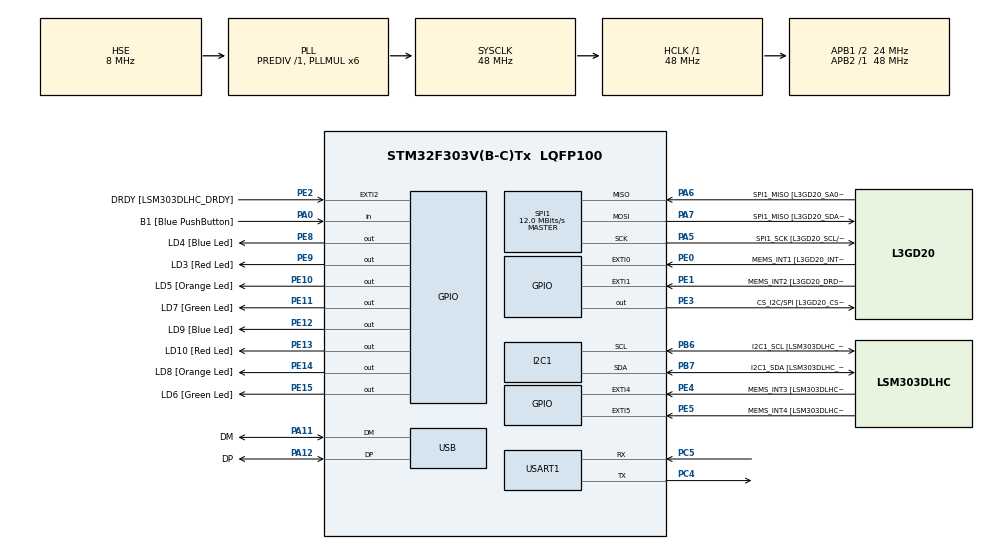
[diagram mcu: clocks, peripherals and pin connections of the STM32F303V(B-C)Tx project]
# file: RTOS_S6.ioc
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FREERTOS.Tasks01=defaultTask,0,128,StartDefaultTask,Default,NULL,Dynamic,NULL,NULL
FREERTOS.configUSE_NEWLIB_REENTRANT=1
I2C1.Timing-I2C=0x2000090E
Mcu.Family=STM32F3
Mcu.Name=STM32F303V(B-C)Tx
Mcu.Package=LQFP100
NVIC.PriorityGroup=NVIC_PRIORITYGROUP_4
NVIC.TIM1_UP_TIM16_IRQn=true\:15\:0\:false\:false\:true\:false\:false\:true\:true
NVIC.TimeBase=TIM1_UP_TIM16_IRQn
NVIC.TimeBaseIP=TIM1
NVIC.USART1_IRQn=true\:5\:0\:false\:false\:true\:true\:true\:true\:true
PA0.GPIO_Label=B1 [Blue PushButton]
PA0.Signal=GPIO_Input
PA11.GPIO_Label=DM
PA11.Mode=Device
PA11.Signal=USB_DM
PA12.GPIO_Label=DP
PA12.Mode=Device
PA12.Signal=USB_DP
PA13.GPIO_Label=SWDIO
PA13.Mode=Serial_Wire
PA13.Signal=SYS_JTMS-SWDIO
PA14.GPIO_Label=SWCLK
PA14.Mode=Serial_Wire
PA14.Signal=SYS_JTCK-SWCLK
PA5.GPIO_Label=SPI1_SCK [L3GD20_SCL/SPC]
PA5.Mode=Full_Duplex_Master
PA5.Signal=SPI1_SCK
PA6.GPIO_Label=SPI1_MISO [L3GD20_SA0/SDO]
PA6.Mode=Full_Duplex_Master
PA6.Signal=SPI1_MISO
PA7.GPIO_Label=SPI1_MISO [L3GD20_SDA/SDI/SDO]
PA7.Mode=Full_Duplex_Master
PA7.Signal=SPI1_MOSI
PB3.GPIO_Label=SWO
PB3.Signal=SYS_JTDO-TRACESWO
PB6.GPIO_Label=I2C1_SCL [LSM303DLHC_SCL]
PB6.GPIO_Pu=GPIO_PULLUP
PB6.Mode=I2C
PB6.Signal=I2C1_SCL
PB7.GPIO_Label=I2C1_SDA [LSM303DLHC_SDA]
PB7.GPIO_Pu=GPIO_PULLUP
PB7.Mode=I2C
PB7.Signal=I2C1_SDA
PC14-OSC32_IN.GPIO_Label=OSC32_IN
PC14-OSC32_IN.Signal=RCC_OSC32_IN
PC15-OSC32_OUT.GPIO_Label=OSC32_OUT
PC15-OSC32_OUT.Signal=RCC_OSC32_OUT
PC4.Mode=Asynchronous
PC4.Signal=USART1_TX
PC5.Mode=Asynchronous
PC5.Signal=USART1_RX
PE0.GPIO_Label=MEMS_INT1 [L3GD20_INT1]
PE0.GPIO_ModeDefaultEXTI=GPIO_MODE_EVT_RISING
PE0.Signal=GPXTI0
PE1.GPIO_Label=MEMS_INT2 [L3GD20_DRDY/INT2]
PE1.GPIO_ModeDefaultEXTI=GPIO_MODE_EVT_RISING
PE1.Signal=GPXTI1
PE10.GPIO_Label=LD5 [Orange Led]
PE10.Signal=GPIO_Output
PE11.GPIO_Label=LD7 [Green Led]
PE11.Signal=GPIO_Output
PE12.GPIO_Label=LD9 [Blue Led]
PE12.Signal=GPIO_Output
PE13.GPIO_Label=LD10 [Red Led]
PE13.Signal=GPIO_Output
PE14.GPIO_Label=LD8 [Orange Led]
PE14.Signal=GPIO_Output
PE15.GPIO_Label=LD6 [Green Led]
PE15.Signal=GPIO_Output
PE2.GPIO_Label=DRDY [LSM303DLHC_DRDY]
PE2.GPIO_ModeDefaultEXTI=GPIO_MODE_EVT_RISING
PE2.Signal=GPXTI2
PE3.GPIO_Label=CS_I2C/SPI [L3GD20_CS_I2C/SPI]
PE3.Signal=GPIO_Output
PE4.GPIO_Label=MEMS_INT3 [LSM303DLHC_INT1]
PE4.GPIO_ModeDefaultEXTI=GPIO_MODE_EVT_RISING
PE4.Signal=GPXTI4
PE5.GPIO_Label=MEMS_INT4 [LSM303DLHC_INT2]
PE5.GPIO_ModeDefaultEXTI=GPIO_MODE_EVT_RISING
PE5.Signal=GPXTI5
PE8.GPIO_Label=LD4 [Blue Led]
PE8.Signal=GPIO_Output
PE9.GPIO_Label=LD3 [Red Led]
PE9.Signal=GPIO_Output
PF0-OSC_IN.GPIO_Label=OSC_IN
PF0-OSC_IN.Mode=HSE-External-Clock-Source
PF0-OSC_IN.Signal=RCC_OSC_IN
PF1-OSC_OUT.GPIO_Label=OSC_OUT
PF1-OSC_OUT.Signal=RCC_OSC_OUT
ProjectManager.HeapSize=0x200
ProjectManager.StackSize=0x400
ProjectManager.TargetToolchain=STM32CubeIDE
RCC.AHBFreq_Value=48000000
RCC.APB1CLKDivider=RCC_HCLK_DIV2
RCC.APB1Freq_Value=24000000
RCC.APB1TimFreq_Value=48000000
RCC.APB2Freq_Value=48000000
RCC.APB2TimFreq_Value=48000000
RCC.CortexFreq_Value=48000000
RCC.HCLKFreq_Value=48000000
RCC.HSE_VALUE=8000000
RCC.HSI_VALUE=8000000
RCC.LSE_VALUE=32768
RCC.PLLMUL=RCC_PLL_MUL6
RCC.SYSCLKFreq_VALUE=48000000
RCC.SYSCLKSourceVirtual=RCC_SYSCLKSOURCE_PLLCLK
RCC.USBFreq_Value=48000000
SPI1.BaudRatePrescaler=SPI_BAUDRATEPRESCALER_4
SPI1.BaudRatePrescaler-Full_Duplex_Master=SPI_BAUDRATEPRESCALER_2
SPI1.CalculateBaudRate=12.0 MBits/s
SPI1.CalculateBaudRate-Full_Duplex_Master=24.0 MBits/s
SPI1.Direction=SPI_DIRECTION_2LINES
SPI1.Mode=SPI_MODE_MASTER
SPI1.Mode-Full_Duplex_Master=SPI_MODE_MASTER
SPI1.VirtualType=VM_MASTER
USART1.VirtualMode-Asynchronous=VM_ASYNC
VP_FREERTOS_VS_CMSIS_V1.Mode=CMSIS_V1
VP_SYS_VS_tim1.Mode=TIM1
board=STM32F3DISCOVERY

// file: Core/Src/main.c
/* USER CODE BEGIN Header */
/**
  ******************************************************************************
  * @file           : main.c
  * @brief          : Main program body
  ******************************************************************************
  * @attention
  *
  * Copyright (c) 2024 STMicroelectronics.
  * All rights reserved.
  *
  * This software is licensed under terms that can be found in the LICENSE file
  * in the root directory of this software component.
  * If no LICENSE file comes with this software, it is provided AS-IS.
  *
  ******************************************************************************
  */
/* USER CODE END Header */
#include "main.h"
//#include "cmsis_os.h"

/* USER CODE BEGIN Includes */
#include "FreeRTOS.h"
#include "task.h"
//#include "timers.h"
#include "queue.h"
#include "semphr.h"
//#include "event_groups.h"
#include "string.h"

/* USER CODE END Includes */

I2C_HandleTypeDef hi2c1;

SPI_HandleTypeDef hspi1;

UART_HandleTypeDef huart1;

PCD_HandleTypeDef hpcd_USB_FS;

void SystemClock_Config(void);
static void MX_GPIO_Init(void);
static void MX_I2C1_Init(void);
static void MX_SPI1_Init(void);
static void MX_USB_PCD_Init(void);
static void MX_USART1_UART_Init(void);

/* USER CODE BEGIN 0 */

/********************* Semaphore Handlers *********************/
SemaphoreHandle_t SimpleMutexHandler;
SemaphoreHandle_t SimpleBinarySemaphoreHandler;

/********************* Task Handlers *********************/
xTaskHandle HPT_Task_Handler;
xTaskHandle MPT_Task_Handler;
xTaskHandle LPT_Task_Handler;

/********************* Task Functions *********************/
void HPT_TASK_Start(void *args);
void MPT_TASK_Start(void *args);
void LPT_TASK_Start(void *args);

/********************* Other Functions *********************/
void Send_UART(char *str) {
	xSemaphoreTake(SimpleMutexHandler, portMAX_DELAY);
//	xSemaphoreTake(SimpleBinarySemaphoreHandler, portMAX_DELAY);
	HAL_Delay(5000); // for binary semaphore
	HAL_UART_Transmit(&huart1, str, strlen(str), HAL_MAX_DELAY);
//	HAL_Delay(2000); // for mutex
	xSemaphoreGive(SimpleMutexHandler);
//	xSemaphoreGive(SimpleBinarySemaphoreHandler);

}

/* USER CODE END 0 */

int main(void)
{

  /* MCU Configuration--------------------------------------------------------*/

  /* Reset of all peripherals, Initializes the Flash interface and the Systick. */
  HAL_Init();

  /* Configure the system clock */
  SystemClock_Config();

  /* Initialize all configured peripherals */
  MX_GPIO_Init();
  MX_I2C1_Init();
  MX_SPI1_Init();
  MX_USB_PCD_Init();
  MX_USART1_UART_Init();
  /* USER CODE BEGIN 2 */

  /********************* Create Mutex *********************/
  SimpleMutexHandler = xSemaphoreCreateMutex();
  // Check Mutex is created successfully or not!
  if(SimpleMutexHandler != NULL) {
	  uint8_t mutex_data[100];
	  sprintf(mutex_data, "Mutex created!\r\n\r\n");
	  HAL_UART_Transmit(&huart1, mutex_data, strlen(mutex_data), HAL_MAX_DELAY);
  }
  else {
	  uint8_t mutex_data[100];
	  sprintf(mutex_data, "Unable to create Mutex!\r\n\r\n");
	  HAL_UART_Transmit(&huart1, mutex_data, strlen(mutex_data), HAL_MAX_DELAY);
  }

  /********************* Create Binary Semaphore *********************/
  SimpleBinarySemaphoreHandler = xSemaphoreCreateBinary();
  // Check Mutex is created successfully or not!
  if(SimpleBinarySemaphoreHandler != NULL) {
	  uint8_t binsem_data[100];
	  sprintf(binsem_data, "Binary semaphore created!\r\n\r\n");
	  HAL_UART_Transmit(&huart1, binsem_data, strlen(binsem_data), HAL_MAX_DELAY);
  }
  else {
	  uint8_t binsem_data[100];
	  sprintf(binsem_data, "Unable to create binary semaphore!\r\n\r\n");
	  HAL_UART_Transmit(&huart1, binsem_data, strlen(binsem_data), HAL_MAX_DELAY);
  }
  // Binary semaphore must be given before being taken!
  xSemaphoreGive(SimpleBinarySemaphoreHandler);

  /********************* Create Tasks *********************/
  xTaskCreate(HPT_TASK_Start, "HPT", 128, NULL, 3, &HPT_Task_Handler);
  xTaskCreate(MPT_TASK_Start, "MPT", 128, NULL, 2, &MPT_Task_Handler);
  xTaskCreate(LPT_TASK_Start, "LPT", 128, NULL, 1, &LPT_Task_Handler);

  /********************* Scheduler *********************/
  vTaskStartScheduler();

  /* USER CODE END 2 */

  /* Infinite loop */
  while (1)
  {

  }
}

void SystemClock_Config(void)
{
  RCC_OscInitTypeDef RCC_OscInitStruct = {0};
  RCC_ClkInitTypeDef RCC_ClkInitStruct = {0};
  RCC_PeriphCLKInitTypeDef PeriphClkInit = {0};

  /** Initializes the RCC Oscillators according to the specified parameters
  * in the RCC_OscInitTypeDef structure.
  */
  RCC_OscInitStruct.OscillatorType = RCC_OSCILLATORTYPE_HSI|RCC_OSCILLATORTYPE_HSE;
  RCC_OscInitStruct.HSEState = RCC_HSE_BYPASS;
  RCC_OscInitStruct.HSEPredivValue = RCC_HSE_PREDIV_DIV1;
  RCC_OscInitStruct.HSIState = RCC_HSI_ON;
  RCC_OscInitStruct.HSICalibrationValue = RCC_HSICALIBRATION_DEFAULT;
  RCC_OscInitStruct.PLL.PLLState = RCC_PLL_ON;
  RCC_OscInitStruct.PLL.PLLSource = RCC_PLLSOURCE_HSE;
  RCC_OscInitStruct.PLL.PLLMUL = RCC_PLL_MUL6;
  if (HAL_RCC_OscConfig(&RCC_OscInitStruct) != HAL_OK)
  {
    Error_Handler();
  }

  /** Initializes the CPU, AHB and APB buses clocks
  */
  RCC_ClkInitStruct.ClockType = RCC_CLOCKTYPE_HCLK|RCC_CLOCKTYPE_SYSCLK
                              |RCC_CLOCKTYPE_PCLK1|RCC_CLOCKTYPE_PCLK2;
  RCC_ClkInitStruct.SYSCLKSource = RCC_SYSCLKSOURCE_PLLCLK;
  RCC_ClkInitStruct.AHBCLKDivider = RCC_SYSCLK_DIV1;
  RCC_ClkInitStruct.APB1CLKDivider = RCC_HCLK_DIV2;
  RCC_ClkInitStruct.APB2CLKDivider = RCC_HCLK_DIV1;

  if (HAL_RCC_ClockConfig(&RCC_ClkInitStruct, FLASH_LATENCY_1) != HAL_OK)
  {
    Error_Handler();
  }
  PeriphClkInit.PeriphClockSelection = RCC_PERIPHCLK_USB|RCC_PERIPHCLK_USART1
                              |RCC_PERIPHCLK_I2C1;
  PeriphClkInit.Usart1ClockSelection = RCC_USART1CLKSOURCE_PCLK2;
  PeriphClkInit.I2c1ClockSelection = RCC_I2C1CLKSOURCE_HSI;
  PeriphClkInit.USBClockSelection = RCC_USBCLKSOURCE_PLL;
  if (HAL_RCCEx_PeriphCLKConfig(&PeriphClkInit) != HAL_OK)
  {
    Error_Handler();
  }
}

static void MX_I2C1_Init(void)
{

  hi2c1.Instance = I2C1;
  hi2c1.Init.Timing = 0x2000090E;
  hi2c1.Init.OwnAddress1 = 0;
  hi2c1.Init.AddressingMode = I2C_ADDRESSINGMODE_7BIT;
  hi2c1.Init.DualAddressMode = I2C_DUALADDRESS_DISABLE;
  hi2c1.Init.OwnAddress2 = 0;
  hi2c1.Init.OwnAddress2Masks = I2C_OA2_NOMASK;
  hi2c1.Init.GeneralCallMode = I2C_GENERALCALL_DISABLE;
  hi2c1.Init.NoStretchMode = I2C_NOSTRETCH_DISABLE;
  if (HAL_I2C_Init(&hi2c1) != HAL_OK)
  {
    Error_Handler();
  }

  /** Configure Analogue filter
  */
  if (HAL_I2CEx_ConfigAnalogFilter(&hi2c1, I2C_ANALOGFILTER_ENABLE) != HAL_OK)
  {
    Error_Handler();
  }

  /** Configure Digital filter
  */
  if (HAL_I2CEx_ConfigDigitalFilter(&hi2c1, 0) != HAL_OK)
  {
    Error_Handler();
  }

}

static void MX_SPI1_Init(void)
{

  /* SPI1 parameter configuration*/
  hspi1.Instance = SPI1;
  hspi1.Init.Mode = SPI_MODE_MASTER;
  hspi1.Init.Direction = SPI_DIRECTION_2LINES;
  hspi1.Init.DataSize = SPI_DATASIZE_4BIT;
  hspi1.Init.CLKPolarity = SPI_POLARITY_LOW;
  hspi1.Init.CLKPhase = SPI_PHASE_1EDGE;
  hspi1.Init.NSS = SPI_NSS_SOFT;
  hspi1.Init.BaudRatePrescaler = SPI_BAUDRATEPRESCALER_4;
  hspi1.Init.FirstBit = SPI_FIRSTBIT_MSB;
  hspi1.Init.TIMode = SPI_TIMODE_DISABLE;
  hspi1.Init.CRCCalculation = SPI_CRCCALCULATION_DISABLE;
  hspi1.Init.CRCPolynomial = 7;
  hspi1.Init.CRCLength = SPI_CRC_LENGTH_DATASIZE;
  hspi1.Init.NSSPMode = SPI_NSS_PULSE_ENABLE;
  if (HAL_SPI_Init(&hspi1) != HAL_OK)
  {
    Error_Handler();
  }

}

static void MX_USART1_UART_Init(void)
{

  huart1.Instance = USART1;
  huart1.Init.BaudRate = 38400;
  huart1.Init.WordLength = UART_WORDLENGTH_8B;
  huart1.Init.StopBits = UART_STOPBITS_1;
  huart1.Init.Parity = UART_PARITY_NONE;
  huart1.Init.Mode = UART_MODE_TX_RX;
  huart1.Init.HwFlowCtl = UART_HWCONTROL_NONE;
  huart1.Init.OverSampling = UART_OVERSAMPLING_16;
  huart1.Init.OneBitSampling = UART_ONE_BIT_SAMPLE_DISABLE;
  huart1.AdvancedInit.AdvFeatureInit = UART_ADVFEATURE_NO_INIT;
  if (HAL_UART_Init(&huart1) != HAL_OK)
  {
    Error_Handler();
  }

}

static void MX_USB_PCD_Init(void)
{

  hpcd_USB_FS.Instance = USB;
  hpcd_USB_FS.Init.dev_endpoints = 8;
  hpcd_USB_FS.Init.speed = PCD_SPEED_FULL;
  hpcd_USB_FS.Init.phy_itface = PCD_PHY_EMBEDDED;
  hpcd_USB_FS.Init.low_power_enable = DISABLE;
  hpcd_USB_FS.Init.battery_charging_enable = DISABLE;
  if (HAL_PCD_Init(&hpcd_USB_FS) != HAL_OK)
  {
    Error_Handler();
  }

}

static void MX_GPIO_Init(void)
{
  GPIO_InitTypeDef GPIO_InitStruct = {0};

  /* GPIO Ports Clock Enable */
  __HAL_RCC_GPIOE_CLK_ENABLE();
  __HAL_RCC_GPIOC_CLK_ENABLE();
  __HAL_RCC_GPIOF_CLK_ENABLE();
  __HAL_RCC_GPIOA_CLK_ENABLE();
  __HAL_RCC_GPIOB_CLK_ENABLE();

  /*Configure GPIO pin Output Level */
  HAL_GPIO_WritePin(GPIOE, CS_I2C_SPI_Pin|LD4_Pin|LD3_Pin|LD5_Pin
                          |LD7_Pin|LD9_Pin|LD10_Pin|LD8_Pin
                          |LD6_Pin, GPIO_PIN_RESET);

  /*Configure GPIO pins : DRDY_Pin MEMS_INT3_Pin MEMS_INT4_Pin MEMS_INT1_Pin
                           MEMS_INT2_Pin */
  GPIO_InitStruct.Pin = DRDY_Pin|MEMS_INT3_Pin|MEMS_INT4_Pin|MEMS_INT1_Pin
                          |MEMS_INT2_Pin;
  GPIO_InitStruct.Mode = GPIO_MODE_EVT_RISING;
  GPIO_InitStruct.Pull = GPIO_NOPULL;
  HAL_GPIO_Init(GPIOE, &GPIO_InitStruct);

  /*Configure GPIO pins : CS_I2C_SPI_Pin LD4_Pin LD3_Pin LD5_Pin
                           LD7_Pin LD9_Pin LD10_Pin LD8_Pin
                           LD6_Pin */
  GPIO_InitStruct.Pin = CS_I2C_SPI_Pin|LD4_Pin|LD3_Pin|LD5_Pin
                          |LD7_Pin|LD9_Pin|LD10_Pin|LD8_Pin
                          |LD6_Pin;
  GPIO_InitStruct.Mode = GPIO_MODE_OUTPUT_PP;
  GPIO_InitStruct.Pull = GPIO_NOPULL;
  GPIO_InitStruct.Speed = GPIO_SPEED_FREQ_LOW;
  HAL_GPIO_Init(GPIOE, &GPIO_InitStruct);

  /*Configure GPIO pin : B1_Pin */
  GPIO_InitStruct.Pin = B1_Pin;
  GPIO_InitStruct.Mode = GPIO_MODE_INPUT;
  GPIO_InitStruct.Pull = GPIO_NOPULL;
  HAL_GPIO_Init(B1_GPIO_Port, &GPIO_InitStruct);

}

/* USER CODE BEGIN 4 */
void HPT_TASK_Start(void *args) {
	char* str2send = "In HPT ****************************************\r\n";

	while(1) {
		uint8_t data[100];
		sprintf(data, "Entered HPT Task\r\n about to take Mutex\r\n");
//		sprintf(data, "Entered HPT Task\r\n about to take Binsem\r\n");
		HAL_UART_Transmit(&huart1, data, strlen(data), HAL_MAX_DELAY);

		Send_UART(str2send);

		sprintf(data, "Leaving HPT\r\n\r\n");
		HAL_UART_Transmit(&huart1, data, strlen(data), HAL_MAX_DELAY);

//		vTaskDelay(1500);
		vTaskDelay(750);
	}
}

/*
void MPT_TASK_Start(void *args) {
	char* str2send = "In MPT ########################################\r\n";

	while(1) {
		uint8_t data[100];
		sprintf(data, "Entered MPT Task\r\n about to take Mutex\r\n");
		HAL_UART_Transmit(&huart1, data, strlen(data), HAL_MAX_DELAY);

		Send_UART(str2send);

		sprintf(data, "Leaving MPT\r\n\r\n");
		HAL_UART_Transmit(&huart1, data, strlen(data), HAL_MAX_DELAY);

		vTaskDelay(2000);
	}
}
*/

void MPT_TASK_Start(void *args) {
	char* str2send = "In MPT ########################################\r\n";

	while(1) {
		HAL_UART_Transmit(&huart1, str2send, strlen(str2send), HAL_MAX_DELAY);
		vTaskDelay(2000);
	}
}

void LPT_TASK_Start(void *args) {
	char* str2send = "In LPT ------------------------------------\r\n";

	while(1) {
		uint8_t data[100];
		sprintf(data, "Entered LPT Task\r\n about to take Mutex\r\n");
//		sprintf(data, "Entered LPT Task\r\n about to take Binsem\r\n");
		HAL_UART_Transmit(&huart1, data, strlen(data), HAL_MAX_DELAY);

		Send_UART(str2send);

		sprintf(data, "Leaving LPT\r\n\r\n");
		HAL_UART_Transmit(&huart1, data, strlen(data), HAL_MAX_DELAY);

		vTaskDelay(2000);
	}
}

/* USER CODE END 4 */

void HAL_TIM_PeriodElapsedCallback(TIM_HandleTypeDef *htim)
{
  if (htim->Instance == TIM1) {
    HAL_IncTick();
  }
}

void Error_Handler(void)
{
  __disable_irq();
  while (1)
  {
  }
}
